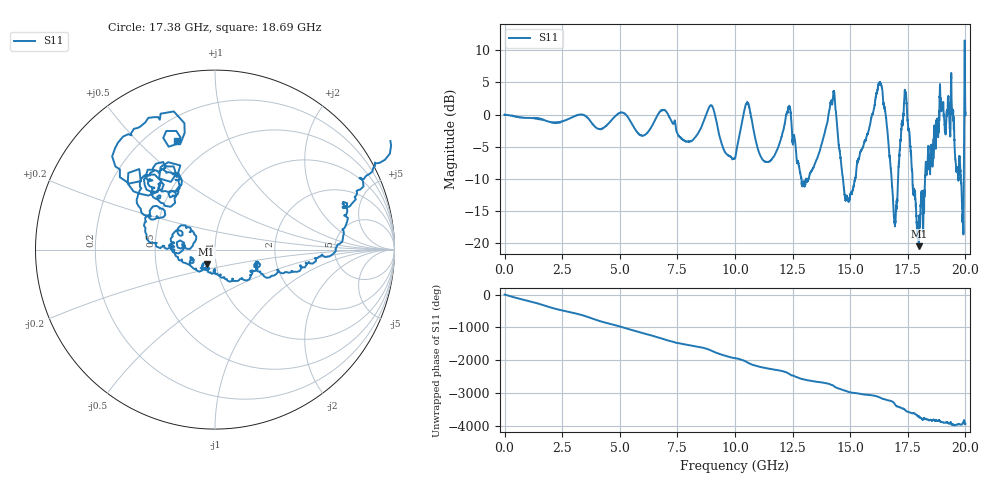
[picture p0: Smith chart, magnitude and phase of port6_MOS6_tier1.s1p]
! Created with skrf 1.8.0 (http://scikit-rf.org).
# GHz S RI R 50.0
!freq ReS11 ImS11
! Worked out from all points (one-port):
!   10000 points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, 3 MHz to 20 GHz, reference 50 ohm
!   lowest |S11| = -20.5 dB at 17.98 GHz (marker M1), VSWR 1.21, Z = 45 - j7.39 ohm
!   |S11| at or under -10 dB: 12.88 GHz to 13.19 GHz (308.3 MHz wide, 2.36 % of centre); 14.69 GHz to 15.22 GHz (531.8 MHz wide, 3.56 % of centre); 17.7 GHz to 18.25 GHz (547.7 MHz wide, 3.05 % of centre) (the widest 3 of 7)
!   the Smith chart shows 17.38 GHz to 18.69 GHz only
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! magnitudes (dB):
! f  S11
! 3 MHz  0.0
! 2.503 GHz  -1.1
! 5.003 GHz  0.3
! 6.007 GHz  -3.3
! 6.933 GHz  0.7
! 7.503 GHz  -2.9
! 8.167 GHz  -4.0
! 8.971 GHz  1.4
! 9.531 GHz  -5.6
! 10 GHz  -6.9
! 10.52 GHz  1.8
! 11.29 GHz  -7.4
! 12.31 GHz  1.2
! 12.5 GHz  -3.9
! 13.1 GHz  -10.1
! 14.26 GHz  2.9
! 14.74 GHz  -11.8
! 15 GHz  -12.6
! 16.3 GHz  4.9
! 16.96 GHz  -17.0
! 17.33 GHz  1.0
! 17.5 GHz  -1.4
! 17.98 GHz  -20.5
! 18.95 GHz  0.5
! 19.45 GHz  0.7
! 19.61 GHz  -8.5
! 19.84 GHz  -11.9
! 20 GHz  0.3
